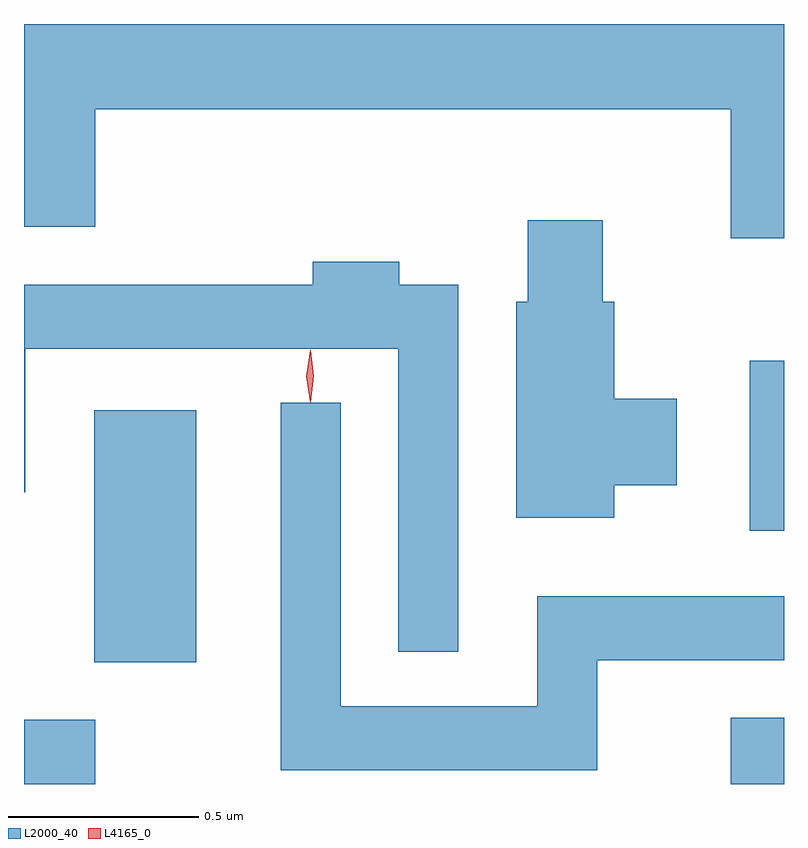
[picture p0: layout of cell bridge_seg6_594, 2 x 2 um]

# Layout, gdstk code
import gdstk
lib = gdstk.Library(unit=1e-6, precision=1e-09)
def R(c, l, rs):  # rectangles x0, y0, x1, y1
    for r in rs: c.add(gdstk.rectangle(r[:2], r[2:], *l))
def P(c, l, *ps):  # polygons
    for p in ps: c.add(gdstk.Polygon(p, *l))
L2000_40 = (2000, 40)
L4165_0 = (4165, 0)

bridge_seg6_594 = lib.new_cell('bridge_seg6_594')
R(bridge_seg6_594, L2000_40, [(407.851,1648.16,408.039,1648.329), (409.711,1648.16,409.851,1648.334), (408.036,1648.481,408.304,1649.144), (409.761,1648.826,409.851,1649.274)])
P(bridge_seg6_594, L2000_40, [(409.851,1650.16),(407.851,1650.16),(407.851,1649.626),(408.039,1649.626),(408.039,1649.936),(409.711,1649.936),(409.711,1649.596),(409.851,1649.596)],
  [(409.404,1648.946),(409.569,1648.946),(409.569,1649.174),(409.404,1649.174),(409.404,1649.429),(409.374,1649.429),(409.374,1649.644),(409.176,1649.644),(409.176,1649.429),(409.146,1649.429),(409.146,1648.861),(409.404,1648.861)],
  [(408.994,1649.474),(408.839,1649.474),(408.839,1649.534),(408.611,1649.534),(408.611,1649.474),(407.851,1649.474),(407.851,1648.928),(407.854,1648.928),(407.854,1649.306),(408.836,1649.306),(408.836,1648.508),(408.994,1648.508)],
  [(409.359,1648.486),(409.851,1648.486),(409.851,1648.654),(409.201,1648.654),(409.201,1648.364),(408.684,1648.364),(408.684,1649.163),(408.526,1649.163),(408.526,1648.196),(409.359,1648.196)])
P(bridge_seg6_594, L4165_0, [(408.604,1649.164),(408.604,1649.164),(408.594,1649.233),(408.604,1649.302),(408.604,1649.303),(408.605,1649.302),(408.614,1649.233),(408.605,1649.164)])

lib.write_gds('bridge_seg6_594.gds')
